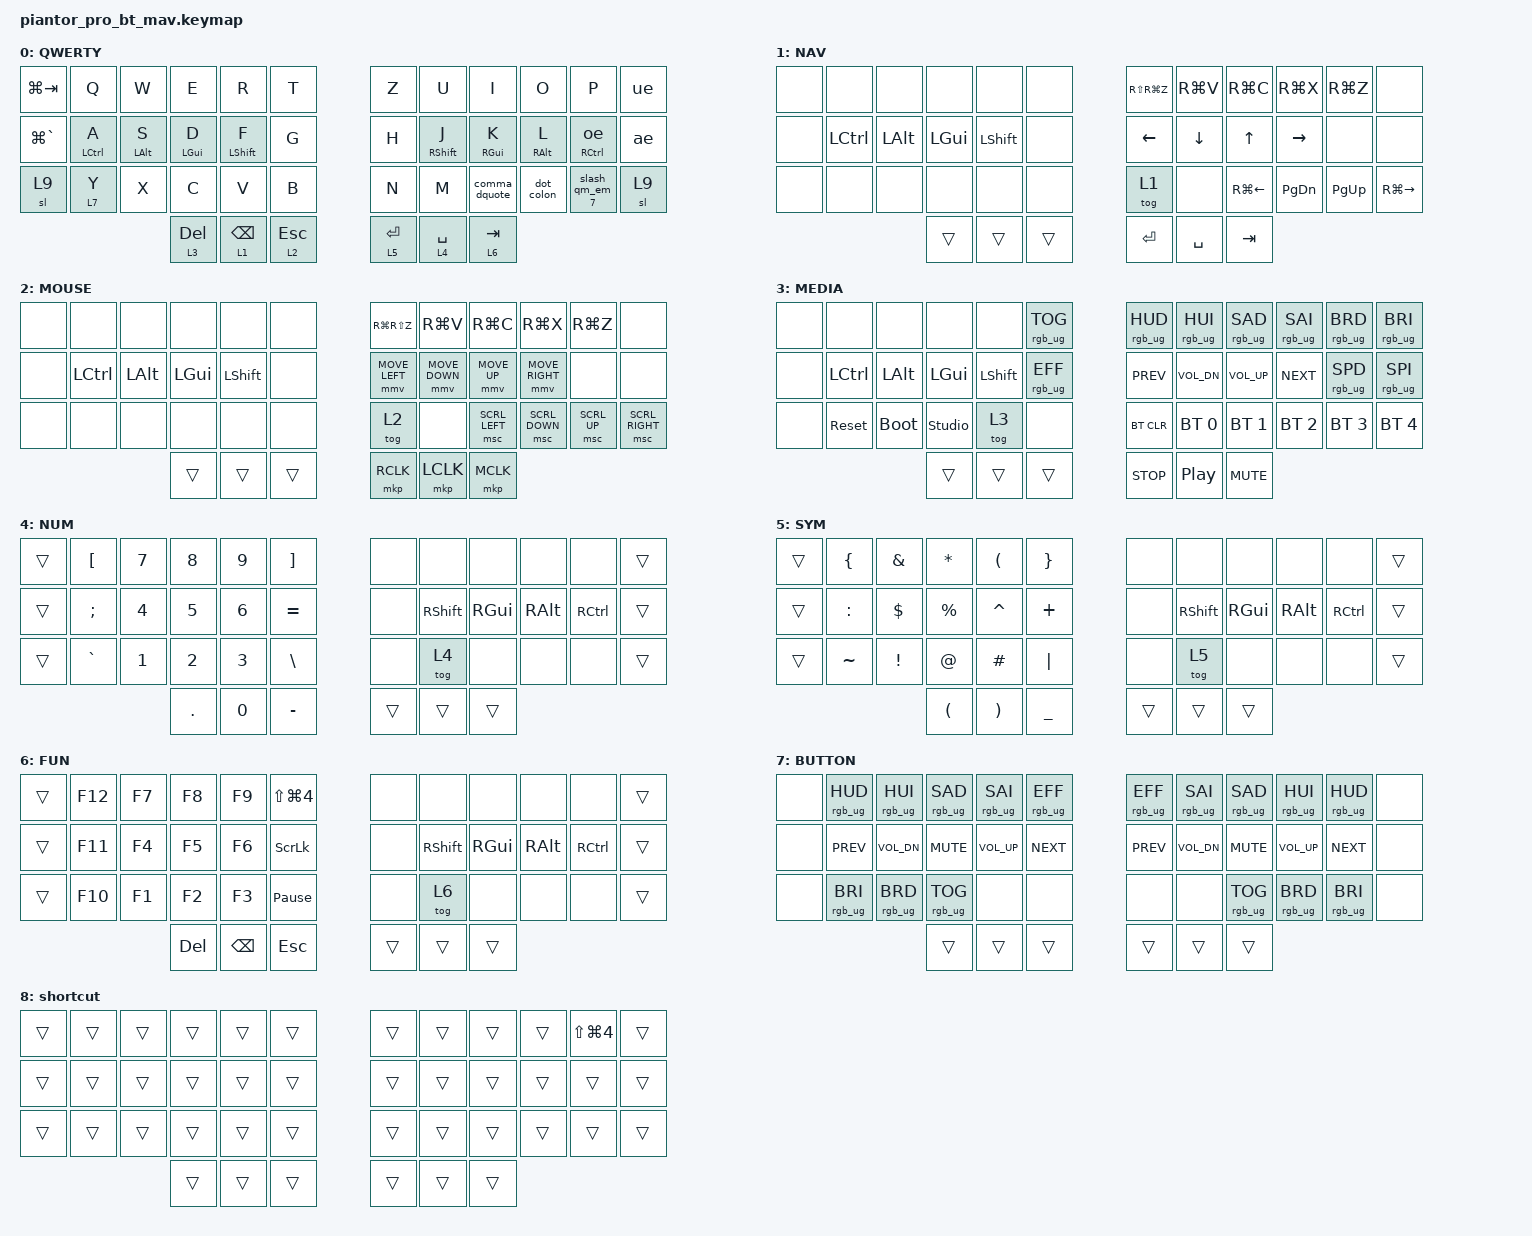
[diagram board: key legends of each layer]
/*
 * Copyright (c) 2020 The ZMK Contributors
 *
 * SPDX-License-Identifier: MIT
 */

#include <behaviors.dtsi>
#include <dt-bindings/zmk/bt.h>
#include <dt-bindings/zmk/keys.h>
#include <dt-bindings/zmk/pointing.h>
#include <dt-bindings/zmk/rgb.h>

#define BASE 0
#define NAV 1
#define MEDIA 2
#define NUM 3
#define SYM 4
#define FUN 5
#define ADJUST 6

&mt {
    flavor = "tap-preferred";
    tapping-term-ms = <200>;
};

/ {
    chosen { 
        zmk,physical-layout = &five_col_layout; };

    macros {
        ae: ae {
            compatible = "zmk,behavior-macro";
            #binding-cells = <0>;
            bindings = <&kp DOUBLE_QUOTES &kp A>;
            label = "AE";
        };

        oe: oe {
            compatible = "zmk,behavior-macro";
            #binding-cells = <0>;
            bindings = <&kp DOUBLE_QUOTES &kp O>;
            label = "OE";
        };

        ue: ue {
            compatible = "zmk,behavior-macro";
            #binding-cells = <0>;
            bindings = <&kp DOUBLE_QUOTES &kp U>;
            label = "UE";
        };
    };

    combos {
        compatible = "zmk,combos";

        semicolon {
            bindings = <&kp SEMI>;
            key-positions = <33 32>;
        };
    };

    behaviors {
        oe_rctrl: oe_rctrl {
            compatible = "zmk,behavior-hold-tap";
            label = "OE_RCTRL";
            bindings = <&kp>, <&oe>;

            #binding-cells = <2>;
            tapping-term-ms = <200>;
            flavor = "tap-preferred";
            hold-while-undecided;
            hold-trigger-key-positions = <0 1 12 13 14 15 16 17 24 25 26 27 28 29 36 37 38 2 3 4 5>;
            hold-trigger-on-release;
        };

        slash_qm_em: slash_qm_em {
            compatible = "zmk,behavior-tap-dance";
            label = "SLASH_QM_EM";
            #binding-cells = <0>;
            bindings = <&kp SLASH>, <&kp QUESTION>, <&kp EXCL>;
        };

        lt8_slash: lt8_slash {
            compatible = "zmk,behavior-hold-tap";
            label = "LT8_SLASH";
            bindings = <&lt>, <&slash_qm_em>;

            #binding-cells = <2>;
            hold-while-undecided;
            hold-trigger-on-release;
            hold-trigger-key-positions = <0 1 12 13 14 15 16 17 24 25 26 27 28 29 36 37 38 2 3 4 5>;
            tapping-term-ms = <200>;
        };

        dot_colon: dot_colon {
            compatible = "zmk,behavior-tap-dance";
            label = "DOT_COLON";
            #binding-cells = <0>;
            bindings = <&kp DOT>, <&kp COLON>;
        };

        comma_dquote: comma_dquote {
            compatible = "zmk,behavior-tap-dance";
            label = "COMMA_DQUOTE";
            #binding-cells = <0>;
            bindings = <&kp COMMA>, <&kp DOUBLE_QUOTES>;
        };
    };

    keymap {
        compatible = "zmk,keymap";

        default_layer {
            display-name = "QWERTY";

            //---------------------------------------------------------------------------------
            //| LG+TAB | Q | W | E | R | T | Z | U | I | O | P | UE |
            //| LG+` | A/CTRL | S/ALT | D/GUI | F/SHIFT | G | H | J/RSHIFT | K/RGUI | L/RALT | 0/RCTRL | AE |
            //| SL9 | Y/LT7 | X | C | V | B | N | M | ,/\" | ./: | /?/! | SL9 |
            //| DEL/LT3 | BSPC/LT1 | ESC/LT2 | RET/LT5 | SPC/LT4 | TAB/LT6 |

            bindings = <
                &kp LG(TAB)       &kp Q       &kp W       &kp E       &kp R       &kp T       &kp Z       &kp U       &kp I       &kp O       &kp P       &ue
                &kp LG(GRAVE)     &mt LEFT_CONTROL A  &mt LALT S  &mt LEFT_GUI D  &mt LSHFT F  &kp G       &kp H       &mt RSHFT J  &mt RIGHT_GUI K  &mt RALT L  &oe_rctrl RIGHT_CONTROL 0  &ae
                &sl 9             &lt 7 Y     &kp X     &kp C     &kp V     &kp B     &kp N     &kp M     &comma_dquote  &dot_colon  &lt8_slash 7 0  &sl 9
                                 &lt 3 DELETE &lt 1 BACKSPACE &lt 2 ESC &lt 5 RET &lt 4 SPACE &lt 6 TAB
            >;
        };

        nav_layer {
            display-name = "NAV";

            //-----------------------------------------------------------------------------------
            //|      |     |     |     |     |     | REDO | PASTE | COPY | CUT | UNDO |      |
            //|      | CTRL | ALT | GUI | SHIFT |     | LEFT | DOWN | UP | RIGHT |     |      |
            //|      |     |     |     |     |     | TOG MOUSE |     | RG+LEFT | PGDN | PGUP | RG+RIGHT |
            //| TRANS | TRANS | TRANS | ENTER | SPACE | TAB |

            bindings = <
                &none            &none       &none       &none       &none       &none       &kp RS(RG(Z)) &kp RG(V) &kp RG(C) &kp RG(X) &kp RG(Z) &none
                &none            &kp LEFT_CONTROL &kp LALT &kp LEFT_GUI &kp LSHFT &none &kp LEFT_ARROW &kp DOWN_ARROW &kp UP_ARROW &kp RIGHT &none &none
                &none            &none       &none       &none       &none       &none       &tog 1     &none       &kp RG(LEFT) &kp PAGE_DOWN &kp PAGE_UP &kp RG(RIGHT)
                                 &trans           &trans     &trans     &kp ENTER  &kp SPACE  &kp TAB
            >;
        };

        mouse_layer {
            display-name = "MOUSE";
            //-----------------------------------------------------------------------------------
            //|      |     |     |     |     |     | REDO | PASTE | COPY | CUT | UNDO |      |
            //|      | CTRL | ALT | GUI | SHIFT |     | MOVE LEFT | MOVE DOWN | MOVE UP | MOVE RIGHT |     |      |
            //|      |     |     |     |     |     | TOG MOUSE |     | SCROLL LEFT | SCROLL DOWN | SCROLL UP | SCROLL RIGHT |
            //| TRANS | TRANS | TRANS | RCLICK | LCLICK | MCLICK |
            bindings = <
                &none            &none       &none       &none       &none       &none       &kp RG(RS(Z)) &kp RG(V) &kp RG(C) &kp RG(X) &kp RG(Z) &none
                &none            &kp LEFT_CONTROL &kp LEFT_ALT &kp LEFT_GUI &kp LEFT_SHIFT &none &mmv MOVE_LEFT &mmv MOVE_DOWN &mmv MOVE_UP &mmv MOVE_RIGHT &none &none
                &none            &none       &none       &none       &none       &none       &tog 2     &none       &msc SCRL_LEFT &msc SCRL_DOWN &msc SCRL_UP &msc SCRL_RIGHT
                                 &trans           &trans     &trans     &mkp RCLK  &mkp LCLK  &mkp MCLK
            >;
        };

        media_layer {
            display-name = "MEDIA";

            //-----------------------------------------------------------------------------
            //|      |     |     |     |     | RGB TOG | HUD | HUI | SAD | SAI | BRD | BRI |
            //|      | CTRL | ALT | GUI | SHIFT | EFFECT | PREV | VOL- | VOL+ | NEXT | SPD | SPI |
            //|      | RESET | BOOT | UNLOCK | TOG NUM |     | BT CLR | BT1 | BT2 | BT3 | BT4 | BT5 |
            //| TRANS | TRANS | TRANS | STOP | PLAY/PAUSE | MUTE |

            bindings = <
                &none            &none       &none       &none       &none       &rgb_ug RGB_TOG &rgb_ug RGB_HUD &rgb_ug RGB_HUI &rgb_ug RGB_SAD &rgb_ug RGB_SAI &rgb_ug RGB_BRD &rgb_ug RGB_BRI
                &none            &kp LEFT_CONTROL &kp LEFT_ALT &kp LGUI &kp LSHIFT &rgb_ug RGB_EFF &kp C_PREV &kp C_VOL_DN &kp C_VOLUME_UP &kp C_NEXT &rgb_ug RGB_SPD &rgb_ug RGB_SPI
                &none            &sys_reset  &bootloader &studio_unlock &tog 3 &none &bt BT_CLR &bt BT_SEL 0 &bt BT_SEL 1 &bt BT_SEL 2 &bt BT_SEL 3 &bt BT_SEL 4
                                 &trans           &trans     &trans     &kp C_STOP &kp C_PLAY_PAUSE &kp C_MUTE
            >;
        };

        num_layer {
            display-name = "NUM";

            //----------------------------------------------------------------------------
            //| TRANS | [ | 7 | 8 | 9 | ] |     |     |     |     |     | TRANS |
            //| TRANS | ; | 4 | 5 | 6 | = |     | RSHIFT | RGUI | RALT | RCTRL | TRANS |
            //| TRANS | ` | 1 | 2 | 3 | \ |     | TOG SYM |     |     |     | TRANS |
            //| . | 0 | - | TRANS | TRANS | TRANS |

            bindings = <
                &trans           &kp LBKT   &kp N7      &kp N8      &kp N9      &kp RBKT   &none       &none       &none       &none       &none       &trans
                &trans           &kp SEMI   &kp N4      &kp N5      &kp N6      &kp EQUAL  &none       &kp RSHFT   &kp RIGHT_GUI &kp RALT   &kp RIGHT_CONTROL &trans
                &trans           &kp GRAVE  &kp N1      &kp N2      &kp N3      &kp BSLH   &none       &tog 4      &none       &none       &none       &trans
                                 &kp DOT    &kp N0      &kp MINUS   &trans      &trans      &trans
            >;
        };

        sym_layer {
            display-name = "SYM";

            //-----------------------------------------------------------------------------
            //| TRANS | { | & | * | ( | } |     |     |     |     |     | TRANS |
            //| TRANS | : | $ | % | ^ | + |     | RSHIFT | RGUI | RALT | RCTRL | TRANS |
            //| TRANS | ~ | ! | @ | # | | |     | TOG FUN |     |     |     | TRANS |
            //| ( | ) | _ | TRANS | TRANS | TRANS |

            bindings = <
                &trans           &kp LBRC   &kp AMPS    &kp ASTRK   &kp LPAR    &kp RBRC   &none       &none       &none       &none       &none       &trans
                &trans           &kp COLON  &kp DLLR    &kp PRCNT   &kp CARET   &kp PLUS   &none       &kp RSHFT   &kp RIGHT_GUI &kp RALT   &kp RIGHT_CONTROL &trans
                &trans           &kp TILDE  &kp EXCL    &kp AT      &kp HASH    &kp PIPE   &none       &tog 5      &none       &none       &none       &trans
                                 &kp LPAR   &kp RPAR    &kp UNDER   &trans      &trans      &trans
            >;
        };

        fun_layer {
            display-name = "FUN";

            //------------------------------------------------------------------------------
            //| TRANS | F12 | F7 | F8 | F9 | SCREENSHOT |     |     |     |     |     | TRANS |
            //| TRANS | F11 | F4 | F5 | F6 | SCROLL LOCK |     | RSHIFT | RGUI | RALT | RCTRL | TRANS |
            //| TRANS | F10 | F1 | F2 | F3 | PAUSE |     | TOG ADJUST |     |     |     | TRANS |
            //| DEL | BSPC | ESC | TRANS | TRANS | TRANS |

            bindings = <
                &trans           &kp F12    &kp F7      &kp F8      &kp F9      &kp LS(LG(NUMBER_4)) &none       &none       &none       &none       &none       &trans
                &trans           &kp F11    &kp F4      &kp F5      &kp F6      &kp SLCK   &none       &kp RIGHT_SHIFT &kp RIGHT_GUI &kp RIGHT_ALT &kp RIGHT_CONTROL &trans
                &trans           &kp F10    &kp F1      &kp F2      &kp F3      &kp PAUSE_BREAK &none    &tog 6      &none       &none       &none       &trans
                                 &kp DEL    &kp BACKSPACE &kp ESC    &trans      &trans      &trans
            >;
        };

        button_layer {
            display-name = "BUTTON";

            //-------------------------------------------------------------------------
            //|      | HUD | HUI | SAD | SAI | EFFECT | EFFECT | SAI | SAD | HUI | HUD |      |
            //|      | PREV | VOL- | MUTE | VOL+ | NEXT | PREV | VOL- | MUTE | VOL+ | NEXT |      |
            //|      | BRI | BRD | RGB TOG |     |     |     |     | RGB TOG | BRD | BRI |      |
            //| TRANS | TRANS | TRANS | TRANS | TRANS | TRANS |

            bindings = <
                &none            &rgb_ug RGB_HUD &rgb_ug RGB_HUI &rgb_ug RGB_SAD &rgb_ug RGB_SAI &rgb_ug RGB_EFF &rgb_ug RGB_EFF &rgb_ug RGB_SAI &rgb_ug RGB_SAD &rgb_ug RGB_HUI &rgb_ug RGB_HUD &none
                &none            &kp C_PREV  &kp C_VOL_DN &kp C_MUTE &kp C_VOL_UP &kp C_NEXT &kp C_PREV &kp C_VOL_DN &kp C_MUTE &kp C_VOL_UP &kp C_NEXT &none
                &none            &rgb_ug RGB_BRI &rgb_ug RGB_BRD &rgb_ug RGB_TOG &none &none &none &none &rgb_ug RGB_TOG &rgb_ug RGB_BRD &rgb_ug RGB_BRI &none
                                 &trans           &trans     &trans     &trans     &trans     &trans
            >;
        };

        shortcut_layer {
            display-name = "shortcut";
            //-------------------------------------------------------------------------
            //|                                      SCREENSHOT                          |
            //|                          (Left Shift + Left GUI + 4)                     |
            bindings = <
                &trans           &trans     &trans     &trans     &trans     &trans     &trans     &trans     &trans     &trans     &kp LS(LG(NUMBER_4)) &trans
                &trans           &trans     &trans     &trans     &trans     &trans     &trans     &trans     &trans     &trans     &trans     &trans
                &trans           &trans     &trans     &trans     &trans     &trans     &trans     &trans     &trans     &trans     &trans     &trans
                                 &trans     &trans     &trans     &trans     &trans     &trans
            >;
        };
    };
};
